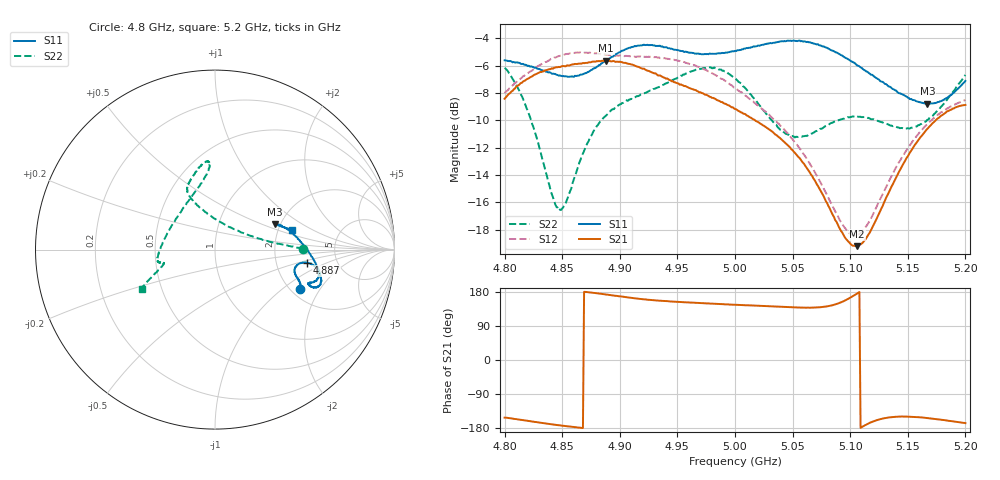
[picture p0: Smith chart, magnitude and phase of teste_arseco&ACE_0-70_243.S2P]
! Network Analyzer HP8722D
! Hewlett-Packard
! Data name: Linha & Wilkinson
! Saver's name: Rodrigo Anjos
! Comments: Teste da utilização de aquisição
! continua pelo VNA HP8722D
! Time and date: 8/5/2025 14:47
!  Frequency  S11  S21  S12  S22
# HZ  S  MA R 50
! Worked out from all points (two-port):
!   401 points, 4.8 GHz to 5.2 GHz, reference 50 ohm
!   highest |S21| = -5.64 dB at 4.888 GHz (marker M1); lowest = -19.2 dB at 5.106 GHz (marker M2)
!   |S21| within 3 dB of the highest: start of sweep to 4.988 GHz
!   lowest |S11| = -8.8 dB at 5.167 GHz (marker M3), VSWR 2.14, Z = 93.6 + j30.9 ohm
!   |S11| at or under -10 dB: nowhere
!   |S22| runs from -16.6 to -6.1 dB; largest |S21 - S12| = 1.1
!   S11 on the Smith chart (normalised r, x): 4.8 GHz: 2.24, -1.36; 4.887 GHz: 3.03, -0.61; 5.2 GHz: 2.36, +0.65
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4.8e9  0.5242 -24.9  0.3794 -152.1  0.3979 7.5  0.4919 0.7
4.82e9  0.5002 -20.5  0.4485 -160.4  0.4702 4.5  0.3437 6.0
4.846e9  0.4633 -16.1  0.4947 -171.8  0.5416 0.3  0.1518 54.2
4.853e9  0.4581 -14.6  0.4984 -174.4  0.5525 -0.9  0.1574 80.4
4.867e9  0.4649 -10.7  0.5102 -179.3  0.558 -3.0  0.2352 107.4
4.887e9  0.5202 -8.1  0.5219 173.3  0.5517 -3.8  0.3264 115.5
4.888e9  0.5234 -8.3  0.5226 172.6  0.5498 -4.1  0.3294 115.5
4.911e9  0.5869 -11.5  0.5055 163.7  0.5428 -3.1  0.3783 113.9
4.934e9  0.5918 -16.8  0.4613 156.4  0.5374 -4.0  0.4187 108.0
4.975e9  0.5521 -20.0  0.3926 149.4  0.4838 -7.5  0.4924 95.7
5e9  0.5675 -20.8  0.3479 145.7  0.4172 -7.2  0.4509 94.5
5.018e9  0.5895 -20.8  0.3147 143.5  0.3637 -4.8  0.3741 102.5
5.044e9  0.6154 -18.8  0.2611 139.6  0.2885 1.1  0.2826 132.4
5.067e9  0.6062 -14.0  0.1981 138.2  0.2129 8.5  0.2833 165.2
5.093e9  0.5459 -4.8  0.1233 153.4  0.1323 33.0  0.3196 -173.6
5.106e9  0.5023 1.4  0.1097 175.4  0.1204 57.8  0.3274 -169.1
5.116e9  0.4721 6.5  0.1214 -167.3  0.134 76.5  0.3229 -167.5
5.134e9  0.4205 15.5  0.1743 -151.4  0.1907 94.1  0.3043 -166.6
5.15e9  0.3832 21.2  0.2337 -149.4  0.2502 98.7  0.2963 -164.7
5.167e9  0.3636 23.2  0.2947 -153.1  0.307 99.6  0.3179 -161.7
5.183e9  0.3805 20.6  0.3379 -159.3  0.3473 99.5  0.3713 -157.4
5.2e9  0.4408 14.5  0.3601 -166.6  0.3755 100.1  0.463 -152.0
